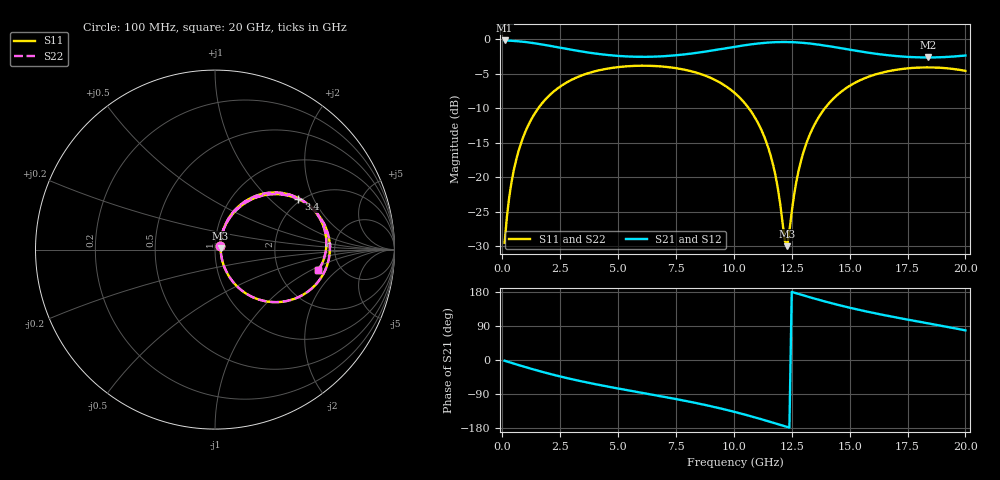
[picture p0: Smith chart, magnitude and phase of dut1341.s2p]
! Touchstone file exported from HFSS 2026.1.0
!  File:  C:/ffzhzh/LocalFiles/Ansys_Project_Files/temp_train_TSV_RDL_1341_1783339124_39728.aedt
!  Generated:  08:16:00 PM Jul  6, 2026
!  Design:  TSV_RDL
!  Project:  temp_train_TSV_RDL_1341_1783339124_39728
! Variables:
!  h_bsmrdl = 4.99um
!  h_ox = 20um
!  h_rdl = 5um
!  h_sub = 53.89um
!  h_tmrdl = 4.66um
!  h_tsv = 53.89um
!  h_via = 3um
!  l_bsmrdl = 865.75um
!  l_sub = 5131.72um
!  l_tmrdl = 505.23um
!  m_sub = 200um
!  pitch = 57.38um
!  r_tsv = 2.78um
!  s_tmrdl = 10um
!  w_bsmrdl = 24.15um
!  w_sub = 500um
!  w_tmrdl = 13.7um
!  x_tsv_center1 = 512.08um
!  x_tsv_center2 = 1401.98um
!  x_tsv_center3 = 1920.91um
!  x_tsv_center4 = 2810.81um
!  x_tsv_center5 = 3329.74um
!  x_tsv_center6 = 4219.64um
# GHz S MA R 50.000000
! Terminal data exported
! Port[1] = TM_RDL1_1_T1
! Port[2] = TM_RDL5_1_T1
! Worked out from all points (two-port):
!   200 points, 100 MHz to 20 GHz, reference 50 ohm
!   highest |S21| = -0.22 dB at 100 MHz (marker M1); lowest = -2.7 dB at 18.4 GHz (marker M2)
!   |S21| within 3 dB of the highest: start of sweep to end of sweep
!   lowest |S11| = -30.0 dB at 12.3 GHz (marker M3), VSWR 1.07, Z = 53.2 + j0.696 ohm
!   |S11| at or under -10 dB: start of sweep to 1.56 GHz; 10.64 GHz to 13.94 GHz (3.299 GHz wide, 26.8 % of centre)
!   |S22| runs from -29.9 to -3.9 dB; largest |S21 - S12| = 1.7e-14
!   S11 on the Smith chart (normalised r, x): 100 MHz: 1.05, +0.05; 3.4 GHz: 1.92, +1.53; 20 GHz: 3.39, -1.19
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0.1  0.0336 41.2  0.9752 -2.0  0.9752 -2.0  0.0336 41.2
! Gamma 0 0 0 0
! Port Impedance 50 0 50 0
0.3  0.07191 63.2  0.972 -5.8  0.972 -5.8  0.07191 63.2
0.5  0.1131 66.9  0.9675 -9.5  0.9675 -9.5  0.1131 66.9
1.1  0.2334 62.8  0.9455 -20.5  0.9455 -20.5  0.2334 62.8
2  0.3859 50.1  0.8952 -35.8  0.8952 -35.8  0.3859 50.1
3.4  0.5424 31.2  0.8129 -56.0  0.8129 -56.0  0.5424 31.2
3.5  0.5502 30.0  0.8079 -57.3  0.8079 -57.3  0.5502 30.0
5.1  0.6283 11.7  0.752 -76.3  0.752 -76.3  0.6283 11.7
6.8  0.634 -6.3  0.7475 -95.1  0.7475 -95.1  0.634 -6.2
8.4  0.5692 -24.1  0.7935 -114.0  0.7935 -114.0  0.5692 -24.1
10.1  0.3981 -46.0  0.8808 -138.0  0.8808 -138.0  0.3981 -46.0
10.9  0.2721 -56.8  0.9208 -151.2  0.9208 -151.2  0.2721 -56.8
11.5  0.1609 -62.6  0.9418 -161.9  0.9418 -161.9  0.1609 -62.5
11.8  0.1025 -61.3  0.9479 -167.4  0.9479 -167.4  0.1026 -61.2
12.2  0.03476 -22.2  0.9505 -174.8  0.9505 -174.8  0.03499 -22.0
12.3  0.03173 11.9  0.9501 -176.6  0.9501 -176.6  0.03198 11.8
12.8  0.1122 66.8  0.9424 174.2  0.9424 174.2  0.1123 66.7
13.4  0.2251 64.6  0.9217 163.5  0.9217 163.5  0.2252 64.6
14.7  0.4232 48.0  0.8533 142.4  0.8533 142.4  0.4232 47.9
16.7  0.5858 23.7  0.761 115.9  0.761 115.9  0.5858 23.7
18.4  0.6225 5.7  0.7347 96.6  0.7347 96.6  0.6225 5.7
20  0.5876 -11.3  0.7595 78.2  0.7595 78.2  0.5875 -11.3
